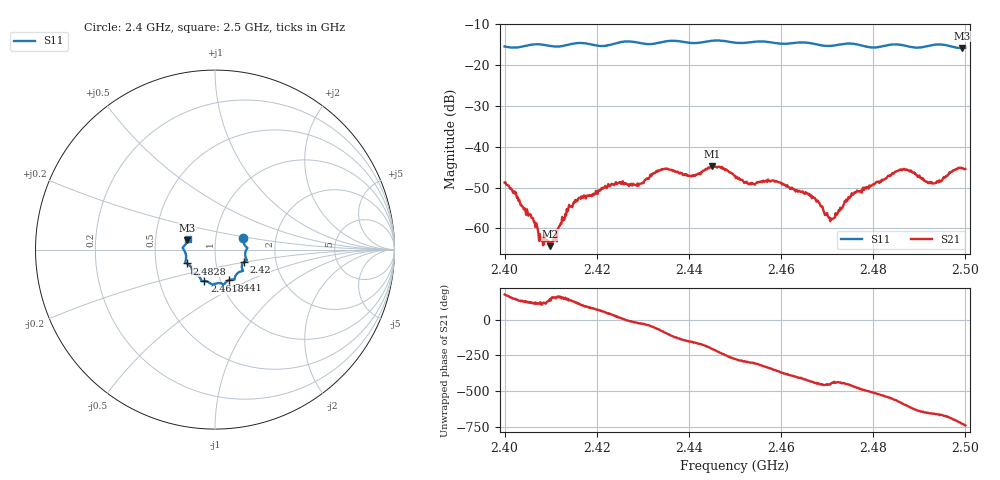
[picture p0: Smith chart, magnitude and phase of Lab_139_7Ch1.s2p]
# Hz S RI R 50
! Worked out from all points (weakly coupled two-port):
!   601 points, 2.4 GHz to 2.5 GHz, reference 50 ohm
!   highest |S21| = -44.76 dB at 2.445 GHz (marker M1); lowest = -64.4 dB at 2.4098 GHz (marker M2)
!   lowest |S11| = -15.8 dB at 2.4993 GHz (marker M3), VSWR 1.39, Z = 36.5 + j3.84 ohm
!   |S11| at or under -10 dB: start of sweep to end of sweep
!   S12 and S22 are empty: the file has one direction only
!   S11 on the Smith chart (normalised r, x): 2.4 GHz: 1.36, +0.18; 2.42 GHz: 1.36, -0.20; 2.441 GHz: 1.10, -0.39; 2.4618 GHz: 0.84, -0.30; 2.4828 GHz: 0.72, -0.11; 2.5 GHz: 0.73, +0.09
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2.4e9  0.1582 0.0627  -0.00364 0.000116  0 0  0 0
2.406e9  0.1791 0.0109  -0.00064 0.00117  0 0  0 0
2.408e9  0.1797 0.00651  -0.000203 0.000679  0 0  0 0
2.409833e9  0.1727 -0.00458  -0.000506 0.000328  0 0  0 0
2.414e9  0.1727 -0.0492  -0.00155 0.00116  0 0  0 0
2.416667e9  0.1774 -0.0607  -0.000604 0.00238  0 0  0 0
2.42e9  0.1593 -0.0703  0.000922 0.00269  0 0  0 0
2.4295e9  0.1412 -0.1224  0.00323 -0.00142  0 0  0 0
2.433333e9  0.1118 -0.1509  0.00214 -0.00467  0 0  0 0
2.441e9  0.0784 -0.1699  -0.00413 -0.00147  0 0  0 0
2.445e9  0.0525 -0.1929  -0.0053 0.00231  0 0  0 0
2.45e9  0.0283 -0.1872  0.000339 0.00437  0 0  0 0
2.461833e9  -0.0592 -0.1756  0.00279 -0.00147  0 0  0 0
2.466667e9  -0.0784 -0.1681  0.000599 -0.00226  0 0  0 0
2.471167e9  -0.106 -0.1377  0.000192 -0.00129  0 0  0 0
2.475833e9  -0.1273 -0.1315  -0.000932 -0.00252  0 0  0 0
2.482833e9  -0.1575 -0.0769  -0.0041 -2.02e-05  0 0  0 0
2.483333e9  -0.1605 -0.0754  -0.0044 0.000425  0 0  0 0
2.487e9  -0.1629 -0.0597  -0.00278 0.00437  0 0  0 0
2.493167e9  -0.1782 0.0052  0.00173 0.00311  0 0  0 0
2.499333e9  -0.154 0.0513  0.00537 -0.00106  0 0  0 0
2.5e9  -0.1522 0.0609  0.00494 -0.00202  0 0  0 0
